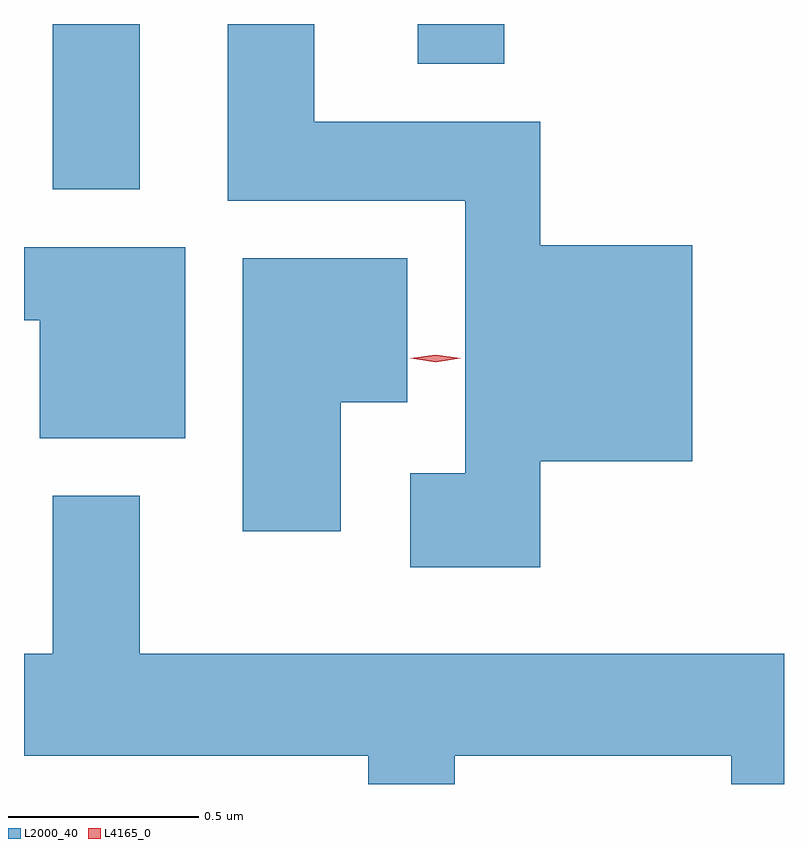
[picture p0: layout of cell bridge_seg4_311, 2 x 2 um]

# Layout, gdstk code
import gdstk
lib = gdstk.Library(unit=1e-6, precision=1e-09)
def R(c, l, rs):  # rectangles x0, y0, x1, y1
    for r in rs: c.add(gdstk.rectangle(r[:2], r[2:], *l))
def P(c, l, *ps):  # polygons
    for p in ps: c.add(gdstk.Polygon(p, *l))
L2000_40 = (2000, 40)
L4165_0 = (4165, 0)

bridge_seg4_311 = lib.new_cell('bridge_seg4_311')
R(bridge_seg4_311, L2000_40, [(387.741,1274.026,387.969,1274.461), (388.701,1274.356,388.929,1274.461)])
P(bridge_seg4_311, L2000_40, [(389.024,1273.311),(389.424,1273.311),(389.424,1273.879),(389.024,1273.879),(389.024,1274.204),(388.429,1274.204),(388.429,1274.461),(388.201,1274.461),(388.201,1273.996),(388.826,1273.996),(388.826,1273.279),(388.681,1273.279),(388.681,1273.031),(389.024,1273.031)],
  [(388.089,1273.874),(387.665,1273.874),(387.665,1273.681),(387.706,1273.681),(387.706,1273.371),(388.089,1273.371)],
  [(388.499,1273.466),(388.674,1273.466),(388.674,1273.844),(388.241,1273.844),(388.241,1273.126),(388.499,1273.126)],
  [(388.799,1272.536),(389.526,1272.536),(389.526,1272.461),(389.665,1272.461),(389.665,1272.804),(387.969,1272.804),(387.969,1273.219),(387.741,1273.219),(387.741,1272.804),(387.665,1272.804),(387.665,1272.536),(388.571,1272.536),(388.571,1272.461),(388.799,1272.461)])
P(bridge_seg4_311, L4165_0, [(388.748,1273.571),(388.682,1273.581),(388.682,1273.581),(388.682,1273.582),(388.748,1273.591),(388.814,1273.582),(388.814,1273.581),(388.814,1273.581)])

lib.write_gds('bridge_seg4_311.gds')
